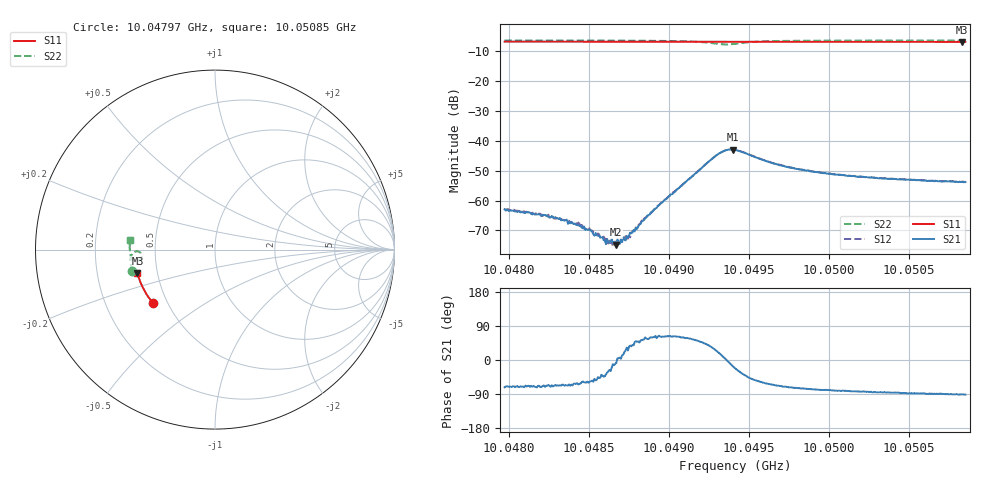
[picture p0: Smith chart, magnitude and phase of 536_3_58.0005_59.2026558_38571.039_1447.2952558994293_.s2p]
#  HZ  S  RI  R  50.00
! Rohde & Schwarz Vector Network Analyzer
! Rohde-Schwarz,ZNB20-2Port,1311601062101988,3.16
! Created: UTC 3/21/2024, 1:14:18 AM
! freq[Hz]  re:S11  im:S11  re:S21  im:S21  re:S12  im:S12  re:S22  im:S22
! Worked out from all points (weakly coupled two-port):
!   401 points, 10.04797 GHz to 10.05085 GHz, reference 50 ohm
!   highest |S21| = -42.92 dB at 10.0494 GHz (marker M1); lowest = -74.8 dB at 10.04867 GHz (marker M2)
!   lowest |S11| = -6.9 dB at 10.05083 GHz (marker M3), VSWR 2.65, Z = 19.2 - j6.44 ohm
!   |S11| at or under -10 dB: nowhere
!   |S22| runs from -7.8 to -6.4 dB; largest |S21 - S12| = 0.00052
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1.0047974e10  -0.3465 -0.2981  0.00022 -0.000678  0.000293 -0.000659  -0.4625 -0.1203
1.0048233e10  -0.3571 -0.2846  0.000214 -0.000525  0.000223 -0.000501  -0.4661 -0.1024
1.0048283e10  -0.359 -0.282  0.000192 -0.00047  0.000191 -0.000459  -0.4667 -0.0988
1.0048427e10  -0.3646 -0.2744  0.000187 -0.00034  0.000194 -0.000357  -0.4685 -0.0883
1.0048456e10  -0.3657 -0.2728  0.000183 -0.000297  0.000186 -0.000344  -0.4686 -0.0862
1.0048506e10  -0.3677 -0.27  0.000178 -0.000268  0.000215 -0.000255  -0.4689 -0.0823
1.0048607e10  -0.3713 -0.2646  0.000148 -0.000114  0.00019 -0.000126  -0.4698 -0.0745
1.0048635e10  -0.3724 -0.263  0.00018 -0.000101  0.000194 -4.64e-05  -0.47 -0.0723
1.0048671e10  -0.3737 -0.261  0.000181 -2.26e-05  0.000188 -9.34e-06  -0.47 -0.0694
1.0048736e10  -0.376 -0.2575  0.000217 0.000138  0.000216 0.000119  -0.4702 -0.0639
1.004875e10  -0.3765 -0.2567  0.000214 0.000152  0.00022 0.000137  -0.4703 -0.0628
1.0048815e10  -0.3787 -0.2531  0.000273 0.000285  0.000223 0.000335  -0.4703 -0.0569
1.0048938e10  -0.383 -0.2462  0.000369 0.000756  0.000347 0.000757  -0.4689 -0.0451
1.0049297e10  -0.3944 -0.2254  0.00523 0.00232  0.00511 0.00272  -0.4218 -0.013
1.0049348e10  -0.3956 -0.2227  0.0068 0.000587  0.00679 0.000998  -0.409 -0.0289
1.0049398e10  -0.3971 -0.2199  0.00686 -0.002  0.00698 -0.00154  -0.4122 -0.0503
1.0049412e10  -0.3974 -0.2192  0.00654 -0.00258  0.00675 -0.00213  -0.4158 -0.055
1.0049642e10  -0.4046 -0.206  0.00181 -0.00387  0.00204 -0.00377  -0.4642 -0.046
1.0049894e10  -0.4115 -0.1908  0.00069 -0.00298  0.000871 -0.00296  -0.4735 -0.0193
1.0050376e10  -0.4231 -0.1615  0.000159 -0.00229  0.000294 -0.0023  -0.4754 0.0195
1.0050829e10  -0.4321 -0.1331  -2.22e-05 -0.00205  8.05e-05 -0.00207  -0.473 0.0515
1.0050851e10  -0.4327 -0.1319  -4.8e-05 -0.00204  4.79e-05 -0.00206  -0.4729 0.053
